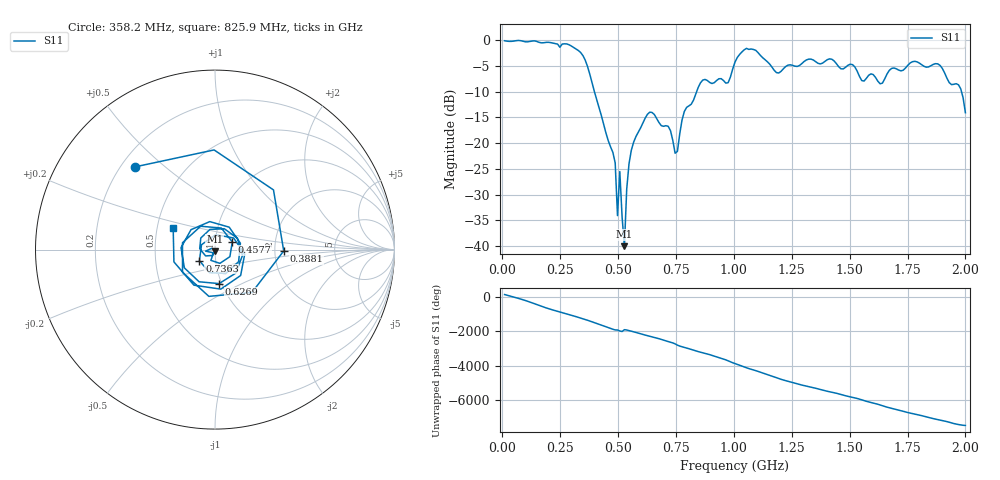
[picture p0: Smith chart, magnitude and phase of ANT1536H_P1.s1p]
!Created with skrf (http://scikit-rf.org).
# Hz S RI R 50.0
!freq ReS11 ImS11
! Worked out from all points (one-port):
!   201 points, 10 MHz to 2 GHz, reference 50 ohm
!   lowest |S11| = -40.0 dB at 527.4 MHz (marker M1), VSWR 1.02, Z = 49.9 - j0.99 ohm
!   |S11| at or under -10 dB: 397.9 MHz to 839.2 MHz (441.3 MHz wide, 71.3 % of centre); 1.983 GHz to end of sweep
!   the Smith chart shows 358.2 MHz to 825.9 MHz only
!   S11 on the Smith chart (normalised r, x): 358.2 MHz: 0.26, +0.40; 388.1 MHz: 2.24, -0.04; 457.8 MHz: 1.21, +0.11; 626.9 MHz: 0.97, -0.38; 736.4 MHz: 0.83, -0.10; 825.9 MHz: 0.61, +0.16
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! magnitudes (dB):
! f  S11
! 10 MHz  -0.1
! 258.8 MHz  -0.7
! 358.2 MHz  -3.9
! 388.1 MHz  -8.3
! 457.8 MHz  -19.5
! 487.6 MHz  -23.8
! 497.6 MHz  -34.1
! 507.5 MHz  -25.5
! 527.4 MHz  -40.0
! 537.4 MHz  -28.9
! 557.2 MHz  -21.4
! 626.9 MHz  -14.4
! 736.4 MHz  -19.5
! 756.2 MHz  -21.6
! 786.1 MHz  -13.8
! 825.9 MHz  -11.6
! 865.7 MHz  -7.7
! 975.1 MHz  -8.3
! 1.005 GHz  -4.2
! 1.055 GHz  -1.6
! 1.184 GHz  -6.3
! 1.254 GHz  -4.9
! 1.502 GHz  -4.7
! 1.632 GHz  -8.5
! 1.751 GHz  -4.9
! 1.891 GHz  -4.9
! 1.98 GHz  -9.5
! 2 GHz  -14.1
